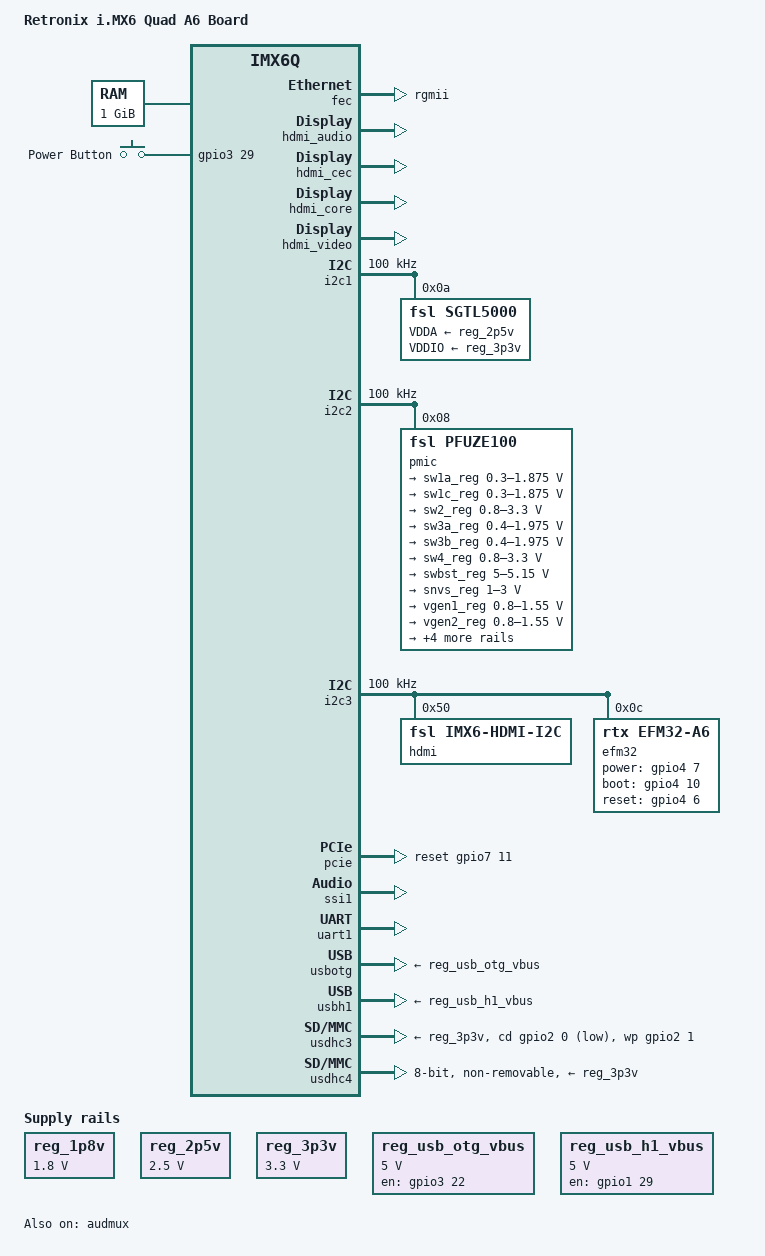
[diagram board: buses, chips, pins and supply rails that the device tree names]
/*
 * Copyright 2012 Freescale Semiconductor, Inc.
 * Copyright 2011 Linaro Ltd.
 *
 * The code contained herein is licensed under the GNU General Public
 * License. You may obtain a copy of the GNU General Public License
 * Version 2 or later at the following locations:
 *
 * http://www.opensource.org/licenses/gpl-license.html
 * http://www.gnu.org/copyleft/gpl.html
 */

/dts-v1/;

#include "skeleton.dtsi"
#include "imx6q-pinfunc.h"
#include <dt-bindings/gpio/gpio.h>
#include <dt-bindings/input/input.h>
#include <dt-bindings/interrupt-controller/arm-gic.h>
#include <dt-bindings/clock/imx6qdl-clock.h>
#include "rtx-imx6q-soc.dtsi"
#include "rtx-imx6q-a6-android-iomux.dtsi"

/ {
	model = "Retronix i.MX6 Quad A6 Board";
	compatible = "fsl,imx6q-rtx-a6", "fsl,imx6q";
	
	aliases {
		mxcfb0 = &hdmi_display;
		mxcfb1 = &lcd_display;
	};
	
	memory {
		reg = <0x10000000 0x40000000>;
	};
	/*
	clocks {
		#address-cells = <1>;
		#size-cells = <0>;
		mclk: clock@0 {
			compatible = "fixed-clock";
			reg = <0>;
			#clock-cells = <0>;
			clock-frequency = <27000000>;
		};
	};
	*/
	regulators {
		compatible = "simple-bus";
		#address-cells = <1>;
		#size-cells = <0>;
		
		reg_1p8v: 1p8v {
			compatible = "regulator-fixed";
			reg = <0>;
			regulator-name = "1P8V";
			regulator-min-microvolt = <1800000>;
			regulator-max-microvolt = <1800000>;
			regulator-always-on;
		};

		reg_2p5v: 2p5v {
			compatible = "regulator-fixed";
			reg = <1>;
			regulator-name = "2P5V";
			regulator-min-microvolt = <2500000>;
			regulator-max-microvolt = <2500000>;
			regulator-always-on;
		};

		reg_3p3v: 3p3v {
			compatible = "regulator-fixed";
			reg = <2>;
			regulator-name = "3P3V";
			regulator-min-microvolt = <3300000>;
			regulator-max-microvolt = <3300000>;
			regulator-always-on;
		};

		reg_usb_otg_vbus: usb_otg_vbus {
			compatible = "regulator-fixed";
			reg = <3>;
			regulator-name = "usb_otg_vbus";
			regulator-min-microvolt = <5000000>;
			regulator-max-microvolt = <5000000>;
			gpio = <&gpio3 22 0>;
			enable-active-high;
		};

		reg_usb_h1_vbus: usb_h1_vbus {
			compatible = "regulator-fixed";
			reg = <4>;
			regulator-name = "usb_h1_vbus";
			regulator-min-microvolt = <5000000>;
			regulator-max-microvolt = <5000000>;
			gpio = <&gpio1 29 0>;
			enable-active-high;
		};
	};

	gpio-keys {
		compatible = "gpio-keys";
		power {
			label = "Power Button";
			gpios = <&gpio3 29 GPIO_ACTIVE_HIGH>;
			linux,code = <KEY_POWER>;
			gpio-key,wakeup;
		};
	};

	sound {
		compatible = "rtx,imx6q-rtx-a6-sgtl5000",
			     "fsl,imx-audio-sgtl5000";
		model = "sgtl5000-audio";
		ssi-controller = <&ssi1>;
		audio-codec = <&sgtl5000>;
		audio-routing =
			"MIC_IN", "Mic Jack",
			"Mic Jack", "Mic Bias",
			"Headphone Jack", "HP_OUT";
		mux-int-port = <1>;
		mux-ext-port = <3>;
	};

	sound-hdmi {
		compatible = "fsl,imx6q-audio-hdmi",
			     "fsl,imx-audio-hdmi";
		model = "imx-audio-hdmi";
		hdmi-controller = <&hdmi_audio>;
	};

	hdmi_display: fb@0 {
		compatible = "fsl,mxc_sdc_fb";
		disp_dev = "hdmi";
		interface_pix_fmt = "RGB24";
		mode_str ="1920x1080M@60";
		default_bpp = <32>;
		int_clk = <0>;
		late_init = <0>;
		status = "okay";
	};
	
	lcd_display: fb@1 {
		compatible = "fsl,mxc_sdc_fb";
		disp_dev = "lcd";
		interface_pix_fmt = "RGB565";
		mode_str ="CLAA-WVGA";
		default_bpp = <16>;
		int_clk = <0>;
		late_init = <0>;
		status = "okay";
	};

	lcd@0 {
		compatible = "fsl,lcd";
		ipu_id = <0>;
		disp_id = <0>;
		default_ifmt = "RGB565";
		pinctrl-names = "default";
		pinctrl-0 = <&pinctrl_ipu1_a6>;
		status = "okay";
	};

	v4l2_cap_0 {
		compatible = "fsl,imx6q-v4l2-capture";
		ipu_id = <0>;
		csi_id = <0>;
		mclk_source = <0>;
		status = "okay";
	};

	v4l2_cap_1 {
		compatible = "fsl,imx6q-v4l2-capture";
		ipu_id = <0>;
		csi_id = <1>;
		mclk_source = <0>;
		status = "okay";
	};

	v4l2_out {
		compatible = "fsl,mxc_v4l2_output";
		status = "okay";
	};
};
/*
&cpu0 {
	arm-supply = <&sw1a_reg>;
	soc-supply = <&sw1c_reg>;
	//pu-supply = <&pu_dummy>; //use pu_dummy if VDDSOC share with VDDPU
};
*/
&audmux {
	pinctrl-names = "default";
	pinctrl-0 = <&pinctrl_audmux_a6>;
	status = "okay";
};

&fec {
	pinctrl-names = "default";
	pinctrl-0 = <&pinctrl_enet_a6>;
	phy-mode = "rgmii";
	status = "okay";
};

&gpc {
//	fsl,ldo-bypass = <1>; /* use ldo-bypass, u-boot will check it and configure */
	fsl,wdog-reset = <2>; /* watchdog select of reset source */
};

&hdmi_audio {
	status = "okay";
};

&hdmi_cec {
	pinctrl-names = "default";
	pinctrl-0 = <&pinctrl_hdmi_cec_a6>;
	status = "okay";
};

&hdmi_core {
	ipu_id = <0>;
	disp_id = <1>;
	status = "okay";
};

&hdmi_video {
	fsl,phy_reg_vlev = <0x0294>;
	fsl,phy_reg_cksymtx = <0x800d>;
	status = "okay";
};

&i2c1 {
	clock-frequency = <100000>;
	pinctrl-names = "default";
	pinctrl-0 = <&pinctrl_i2c1_a6>;
	status = "okay";

	sgtl5000: sgtl5000@0a {
		compatible = "fsl,sgtl5000";
		reg = <0x0a>;
		clocks = <&clks 201>;
		VDDA-supply = <&reg_2p5v>;
		VDDIO-supply = <&reg_3p3v>;
	};
};

&i2c2 {
	clock-frequency = <100000>;
	pinctrl-names = "default";
	pinctrl-0 = <&pinctrl_i2c2_a6>;
	status = "okay";

	pmic: pfuze100@08 {
		compatible = "fsl,pfuze100";
		reg = <0x08>;

		regulators {
			sw1a_reg: sw1ab {
				regulator-min-microvolt = <300000>;
				regulator-max-microvolt = <1875000>;
				regulator-boot-on;
				regulator-always-on;
				regulator-ramp-delay = <6250>;
			};

			sw1c_reg: sw1c {
				regulator-min-microvolt = <300000>;
				regulator-max-microvolt = <1875000>;
				regulator-boot-on;
				regulator-always-on;
				regulator-ramp-delay = <6250>;
			};

			sw2_reg: sw2 {
				regulator-min-microvolt = <800000>;
				regulator-max-microvolt = <3300000>;
				regulator-boot-on;
				regulator-always-on;
				regulator-ramp-delay = <6250>;
			};

			sw3a_reg: sw3a {
				regulator-min-microvolt = <400000>;
				regulator-max-microvolt = <1975000>;
				regulator-boot-on;
				regulator-always-on;
			};

			sw3b_reg: sw3b {
				regulator-min-microvolt = <400000>;
				regulator-max-microvolt = <1975000>;
				regulator-boot-on;
				regulator-always-on;
			};

			sw4_reg: sw4 {
				regulator-min-microvolt = <800000>;
				regulator-max-microvolt = <3300000>;
			};

			swbst_reg: swbst {
				regulator-min-microvolt = <5000000>;
				regulator-max-microvolt = <5150000>;
			};

			snvs_reg: vsnvs {
				regulator-min-microvolt = <1000000>;
				regulator-max-microvolt = <3000000>;
				regulator-boot-on;
				regulator-always-on;
			};

			vref_reg: vrefddr {
				regulator-boot-on;
				regulator-always-on;
			};

			vgen1_reg: vgen1 {
				regulator-min-microvolt = <800000>;
				regulator-max-microvolt = <1550000>;
			};

			vgen2_reg: vgen2 {
				regulator-min-microvolt = <800000>;
				regulator-max-microvolt = <1550000>;
			};

			vgen3_reg: vgen3 {
				regulator-min-microvolt = <1800000>;
				regulator-max-microvolt = <3300000>;
			};

			vgen4_reg: vgen4 {
				regulator-min-microvolt = <1800000>;
				regulator-max-microvolt = <3300000>;
				regulator-always-on;
			};

			vgen5_reg: vgen5 {
				regulator-min-microvolt = <1800000>;
				regulator-max-microvolt = <3300000>;
				regulator-always-on;
			};

			vgen6_reg: vgen6 {
				regulator-min-microvolt = <1800000>;
				regulator-max-microvolt = <3300000>;
				regulator-always-on;
			};
		};
	};
};

&i2c3 {
	clock-frequency = <100000>;
	pinctrl-names = "default";
	pinctrl-0 = <&pinctrl_i2c3_a6>;
	status = "okay";

	hdmi: edid@50 {
		compatible = "fsl,imx6-hdmi-i2c";
		reg = <0x50>;
	};
	
	efm32: rtx-efm32@0c {
		compatible = "rtx,efm32-a6";
		pinctrl-names = "default";
		pinctrl-0 = <&pinctrl_mcu_a6>;
		reg = <0x0c>;
		gpio-power = <&gpio4 7 0>;
		gpio-boot = <&gpio4 10 0>;
		gpio-reset = <&gpio4 6 0>;
	};
};

&pcie {
	pinctrl-names = "default";
	pinctrl-0 = <&pinctrl_pcie_a6>;
	
	power-on-gpio = <&gpio3 18 0>;
	reset-gpio = <&gpio7 11 0>;
	status = "okay";
};

&ssi1 {
	fsl,mode = "i2s-slave";
	status = "okay";
};

&uart1 {
	pinctrl-names = "default";
	pinctrl-0 = <&pinctrl_uart1_a6>;
	status = "okay";
};

&usbotg {
	pinctrl-names = "default";
	pinctrl-0 = <&pinctrl_usbotg_a6>;
	vbus-supply = <&reg_usb_otg_vbus>;
	disable-over-current;
	status = "okay";
};

&usbh1 {
	pinctrl-names = "default";
	pinctrl-0 = <&pinctrl_usbh1_a6>;
	vbus-supply = <&reg_usb_h1_vbus>;
	status = "okay";
};

&usdhc3 {
	pinctrl-names = "default";
	pinctrl-0 = <&pinctrl_usdhc3_a6_50mhz &pinctrl_usdhc3_cd_wp_a6>;
	cd-gpios = <&gpio2 0 GPIO_ACTIVE_LOW>;
	wp-gpios = <&gpio2 1 GPIO_ACTIVE_HIGH>;
	vmmc-supply = <&reg_3p3v>;
	no-1-8-v;
	keep-power-in-suspend;
	enable-sdio-wakeup;
	status = "okay";
};

&usdhc4 {
	pinctrl-names = "default";
	pinctrl-0 = <&pinctrl_usdhc4_a6>;
	vmmc-supply = <&reg_3p3v>;
	bus-width = <8>;
	non-removable;
	no-1-8-v;
	keep-power-in-suspend;
	status = "okay";
};

